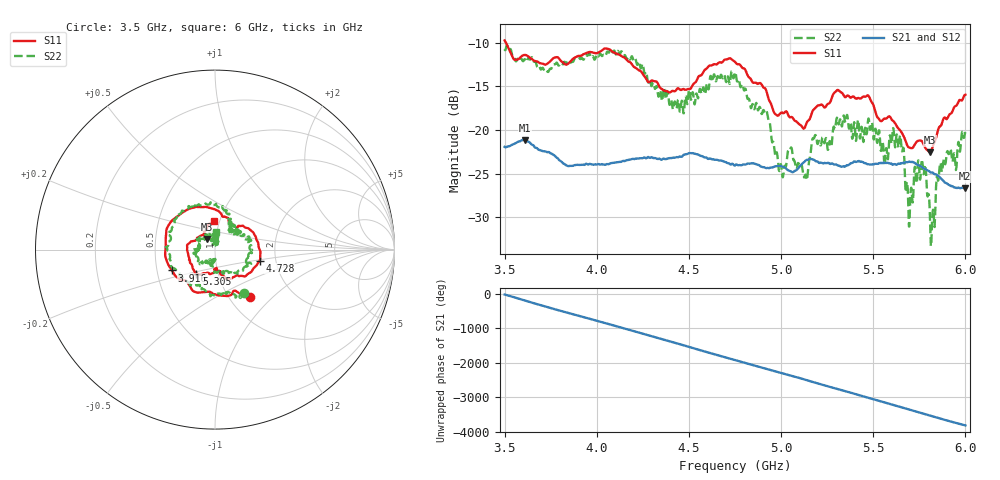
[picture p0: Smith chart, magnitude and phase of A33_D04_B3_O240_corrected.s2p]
! Created with skrf 1.9.0 (http://scikit-rf.org).
# Hz S RI R 50.0
!freq ReS11 ImS11 ReS21 ImS21 ReS12 ImS12 ReS22 ImS22
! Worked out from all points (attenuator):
!   1601 points, 3.5 GHz to 6 GHz, reference 50 ohm
!   highest |S21| = -21.14 dB at 3.609 GHz (marker M1); lowest = -26.7 dB at 5.995 GHz (marker M2)
!   lowest |S11| = -22.6 dB at 5.808 GHz (marker M3), VSWR 1.16, Z = 45.3 + j5.35 ohm
!   |S11| at or under -10 dB: 3.507 GHz to end of sweep
!   |S22| runs from -33.3 to -10.3 dB; largest |S21 - S12| = 0.001
!   S11 on the Smith chart (normalised r, x): 3.5 GHz: 1.25, -0.73; 3.916 GHz: 0.60, -0.15; 4.728 GHz: 1.64, -0.22; 5.305 GHz: 0.79, -0.22; 6 GHz: 0.94, +0.31
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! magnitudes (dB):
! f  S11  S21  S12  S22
! 3.5 GHz  -9.7  -21.9  -21.9  -10.8
! 3.609 GHz  -11.4  -21.1  -21.1  -11.9
! 3.916 GHz  -11.5  -24.0  -24.0  -11.8
! 3.917 GHz  -11.5  -24.0  -24.0  -11.8
! 4.125 GHz  -11.4  -23.6  -23.6  -11.3
! 4.334 GHz  -14.8  -23.3  -23.2  -16.2
! 4.728 GHz  -11.8  -24.0  -23.8  -13.7
! 4.75 GHz  -12.2  -24.1  -24.0  -13.4
! 4.917 GHz  -15.4  -24.4  -24.3  -17.8
! 5 GHz  -18.0  -24.1  -24.1  -24.0
! 5.048 GHz  -18.5  -24.7  -24.7  -22.3
! 5.133 GHz  -19.5  -23.5  -23.5  -25.1
! 5.167 GHz  -18.0  -23.4  -23.3  -21.4
! 5.305 GHz  -15.4  -24.0  -24.0  -18.6
! 5.584 GHz  -18.4  -23.8  -23.7  -21.9
! 5.655 GHz  -20.3  -23.8  -23.7  -22.3
! 5.703 GHz  -22.1  -23.7  -23.6  -27.0
! 5.773 GHz  -21.6  -24.4  -24.3  -25.1
! 5.808 GHz  -22.6  -24.8  -24.7  -30.1
! 5.87 GHz  -19.4  -25.6  -25.5  -24.6
! 5.995 GHz  -16.0  -26.7  -26.6  -20.7
! 6 GHz  -16.0  -26.7  -26.6  -20.1
